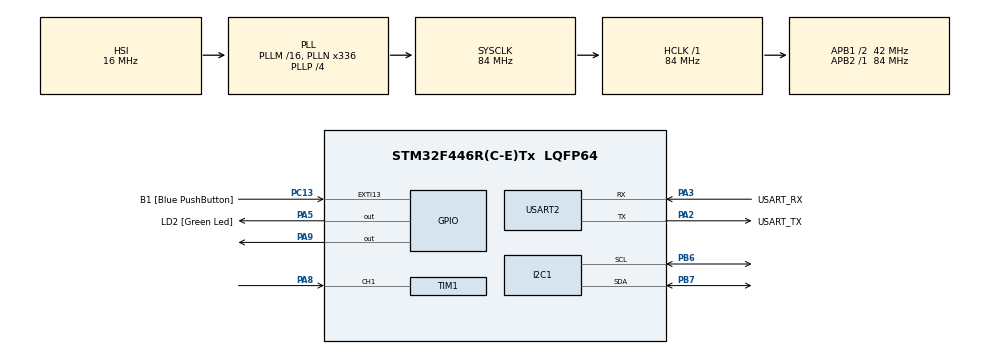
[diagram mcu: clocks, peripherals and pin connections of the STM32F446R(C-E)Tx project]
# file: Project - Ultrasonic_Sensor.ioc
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Mcu.Family=STM32F4
Mcu.Name=STM32F446R(C-E)Tx
Mcu.Package=LQFP64
NVIC.PriorityGroup=NVIC_PRIORITYGROUP_0
NVIC.TIM1_CC_IRQn=true\:0\:0\:false\:false\:true\:true\:true\:true
PA13.GPIO_Label=TMS
PA13.Mode=Serial_Wire
PA13.Signal=SYS_JTMS-SWDIO
PA14.GPIO_Label=TCK
PA14.Mode=Serial_Wire
PA14.Signal=SYS_JTCK-SWCLK
PA2.GPIO_Label=USART_TX
PA2.Mode=Asynchronous
PA2.Signal=USART2_TX
PA3.GPIO_Label=USART_RX
PA3.Mode=Asynchronous
PA3.Signal=USART2_RX
PA5.GPIO_Label=LD2 [Green Led]
PA5.Signal=GPIO_Output
PA8.Signal=S_TIM1_CH1
PA9.Signal=GPIO_Output
PB3.GPIO_Label=SWO
PB3.Signal=SYS_JTDO-SWO
PB6.Mode=I2C
PB6.Signal=I2C1_SCL
PB7.Mode=I2C
PB7.Signal=I2C1_SDA
PC13.GPIO_Label=B1 [Blue PushButton]
PC13.GPIO_ModeDefaultEXTI=GPIO_MODE_IT_FALLING
PC13.Signal=GPXTI13
PC14-OSC32_IN.Mode=LSE-External-Oscillator
PC14-OSC32_IN.Signal=RCC_OSC32_IN
PC15-OSC32_OUT.Mode=LSE-External-Oscillator
PC15-OSC32_OUT.Signal=RCC_OSC32_OUT
PH0-OSC_IN.Mode=HSE-External-Oscillator
PH0-OSC_IN.Signal=RCC_OSC_IN
PH1-OSC_OUT.Mode=HSE-External-Oscillator
PH1-OSC_OUT.Signal=RCC_OSC_OUT
ProjectManager.HeapSize=0x200
ProjectManager.StackSize=0x400
ProjectManager.TargetToolchain=STM32CubeIDE
RCC.48MHZClocksFreq_Value=84000000
RCC.AHBFreq_Value=84000000
RCC.APB1CLKDivider=RCC_HCLK_DIV2
RCC.APB1Freq_Value=42000000
RCC.APB1TimFreq_Value=84000000
RCC.APB2Freq_Value=84000000
RCC.APB2TimFreq_Value=84000000
RCC.CortexFreq_Value=84000000
RCC.FLatency-AdvancedSettings=FLASH_LATENCY_2
RCC.HCLKFreq_Value=84000000
RCC.HSE_VALUE=8000000
RCC.HSI_VALUE=16000000
RCC.PLLN=336
RCC.PLLP=RCC_PLLP_DIV4
RCC.SYSCLKFreq_VALUE=84000000
RCC.SYSCLKSource=RCC_SYSCLKSOURCE_PLLCLK
RCC.USBFreq_Value=168000000
RCC.VCOOutputFreq_Value=336000000
SH.S_TIM1_CH1.0=TIM1_CH1,Input_Capture1_from_TI1
TIM1.Channel-Input_Capture1_from_TI1=TIM_CHANNEL_1
TIM1.Prescaler=84-1
USART2.VirtualMode=VM_ASYNC
board=NUCLEO-F446RE

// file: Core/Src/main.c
/* USER CODE BEGIN Header */
/**
 ******************************************************************************
 * @file           : main.c
 * @brief          : Main program body
 ******************************************************************************
 * @attention
 *
 * Copyright (c) 2025 STMicroelectronics.
 * All rights reserved.
 *
 * This software is licensed under terms that can be found in the LICENSE file
 * in the root directory of this software component.
 * If no LICENSE file comes with this software, it is provided AS-IS.
 *
 ******************************************************************************
 */
/* USER CODE END Header */
#include "main.h"
#include <stdio.h>
#define SLAVE_ADDRESS_LCD 0x4E

I2C_HandleTypeDef hi2c1;

TIM_HandleTypeDef htim1;

UART_HandleTypeDef huart2;

void SystemClock_Config(void);
static void MX_GPIO_Init(void);
static void MX_USART2_UART_Init(void);
static void MX_TIM1_Init(void);
static void MX_I2C1_Init(void);

/* USER CODE BEGIN 0 */

void delay(uint16_t time)
{
    __HAL_TIM_SET_COUNTER(&htim1, 0); // set counter value to zero
    while (__HAL_TIM_GET_COUNTER(&htim1) < time)
        ;
}

uint32_t IC_val1 = 0;
uint32_t IC_val2 = 0;
uint32_t diff = 0;
uint32_t distance = 0;
uint32_t flag = 0;

void HAL_TIM_IC_CaptureCallback(TIM_HandleTypeDef *htim)
{
    if (htim->Channel == HAL_TIM_ACTIVE_CHANNEL_1) // Check if the interrupt source is Channel 1
    {
        if (flag == 0)
        {
            IC_val1 = HAL_TIM_ReadCapturedValue(htim, TIM_CHANNEL_1); // stores time for rising edge
            flag = 1;

            __HAL_TIM_SET_CAPTUREPOLARITY(htim, TIM_CHANNEL_1, TIM_INPUTCHANNELPOLARITY_FALLING);
        }

        else if (flag == 1)
        {
            IC_val2 = HAL_TIM_ReadCapturedValue(htim, TIM_CHANNEL_1); // stores time for falling edge
            __HAL_TIM_SET_COUNTER(htim, 0);

            if (IC_val2 > IC_val1)
            {
                diff = IC_val2 - IC_val1;
            }

            else if (IC_val2 < IC_val1)
            {
                diff = (0xffff - IC_val1) + IC_val2;
            }

            distance = (diff * 0.034) / 2;

            flag = 0;

            __HAL_TIM_SET_CAPTUREPOLARITY(htim, TIM_CHANNEL_1, TIM_INPUTCHANNELPOLARITY_RISING);

            __HAL_TIM_DISABLE_IT(&htim1, TIM_IT_CC1);
        }
    }
}

void ultrasonic_trigger()
{
    HAL_GPIO_WritePin(GPIOA, GPIO_PIN_9, GPIO_PIN_SET);
    delay(10);
    HAL_GPIO_WritePin(GPIOA, GPIO_PIN_9, GPIO_PIN_RESET);
    delay(10);
    __HAL_TIM_ENABLE_IT(&htim1, TIM_IT_CC1);
}
void lcd_send_cmd (char cmd)
{
  char data_u, data_l;
  data_u = (cmd&0xf0);
  data_l = ((cmd<<4)&0xf0);
  uint8_t data_t[4];
  data_t[0] = data_u|0x0C;  //en=1, rs=0 -> bxxxx1100
  data_t[1] = data_u|0x08;  //en=0, rs=0 -> bxxxx1000
  data_t[2] = data_l|0x0C;  //en=1, rs=0 -> bxxxx1100
  data_t[3] = data_l|0x08;  //en=0, rs=0 -> bxxxx1000
  HAL_I2C_Master_Transmit (&hi2c1, SLAVE_ADDRESS_LCD,(uint8_t *) data_t, 4, 100);
}
void lcd_send_data (char data)
{
	char data_u, data_l;
	uint8_t data_t[4];
	data_u = (data&0xf0);
	data_l = ((data<<4)&0xf0);
	data_t[0] = data_u|0x0D;  //en=1, rs=1 -> bxxxx1101
	data_t[1] = data_u|0x09;  //en=0, rs=1 -> bxxxx1001
	data_t[2] = data_l|0x0D;  //en=1, rs=1 -> bxxxx1101
	data_t[3] = data_l|0x09;  //en=0, rs=1 -> bxxxx1001
	HAL_I2C_Master_Transmit (&hi2c1, SLAVE_ADDRESS_LCD,(uint8_t *) data_t, 4, 100);
}
void lcd_init (void)
{
  // 4 bit initialisation
  HAL_Delay(50);  // wait for >40ms
  lcd_send_cmd (0x30);
  HAL_Delay(5);  // wait for >4.1ms
  lcd_send_cmd (0x30);
  HAL_Delay(1);  // wait for >100us
  lcd_send_cmd (0x30);
  HAL_Delay(10);
  lcd_send_cmd (0x20);  // 4bit mode
  HAL_Delay(10);

  // display initialisation
  lcd_send_cmd (0x28); // Function set --> DL=0 (4 bit mode), N = 1 (2 line display) F = 0 (5x8 characters)
  HAL_Delay(1);
  lcd_send_cmd (0x08); //Display on/off control --> D=0,C=0, B=0  ---> display off
  HAL_Delay(1);
  lcd_send_cmd (0x01);  // clear display
  HAL_Delay(2);
  lcd_send_cmd (0x06); //Entry mode set --> I/D = 1 (increment cursor) & S = 0 (no shift)
  HAL_Delay(1);
  lcd_send_cmd (0x0C); //Display on/off control --> D = 1, C and B = 0. (Cursor and blink, last two bits)
}

void lcd_clear (void)
{
	lcd_send_cmd (0x80);
	for (int i=0; i<70; i++)
	{
		lcd_send_data (' ');
	}
}

void lcd_put_cur(int row, int col)
{
    switch (row)
    {
        case 0:
            col |= 0x80;
            break;
        case 1:
            col |= 0xC0;
            break;
    }

    lcd_send_cmd (col);
}
void lcd_send_string (char *str)
{
	while (*str) lcd_send_data (*str++);
}
char dist[15];
/* USER CODE END 0 */

int main(void)
{

  /* MCU Configuration--------------------------------------------------------*/

  /* Reset of all peripherals, Initializes the Flash interface and the Systick. */
  HAL_Init();

  /* Configure the system clock */
  SystemClock_Config();

  /* Initialize all configured peripherals */
  MX_GPIO_Init();
  MX_USART2_UART_Init();
  MX_TIM1_Init();
  MX_I2C1_Init();
  /* USER CODE BEGIN 2 */
    lcd_init();

    HAL_TIM_IC_Start_IT(&htim1, TIM_CHANNEL_1);
int out;
  /* USER CODE END 2 */

  /* Infinite loop */
    while (1)
    {
    	ultrasonic_trigger();
    	HAL_Delay(500);

    	if(distance<500)
    	{
    		lcd_send_cmd (0x01);
    		HAL_Delay(50);
    		lcd_put_cur(0,0);
    		sprintf(dist,"Distance: %d",distance);
    		lcd_send_string(dist);
    		lcd_put_cur(1,0);
    		if(distance>100){
    			out=1;
    			HAL_GPIO_WritePin(LD2_GPIO_Port, LD2_GPIO_Port, 1);
    		}
    		if(distance<10){
    			out=0;
    			HAL_GPIO_WritePin(GPIOA, LD2_Pin, 0);
    		}
    		if(out==0){
    			lcd_send_string("Relay OFF");
    		}
    		if(out==1){
    			lcd_send_string("Relay on ");
    		}

    }
}
}
void SystemClock_Config(void)
{
  RCC_OscInitTypeDef RCC_OscInitStruct = {0};
  RCC_ClkInitTypeDef RCC_ClkInitStruct = {0};

  /** Configure the main internal regulator output voltage
  */
  __HAL_RCC_PWR_CLK_ENABLE();
  __HAL_PWR_VOLTAGESCALING_CONFIG(PWR_REGULATOR_VOLTAGE_SCALE3);

  /** Initializes the RCC Oscillators according to the specified parameters
  * in the RCC_OscInitTypeDef structure.
  */
  RCC_OscInitStruct.OscillatorType = RCC_OSCILLATORTYPE_HSI;
  RCC_OscInitStruct.HSIState = RCC_HSI_ON;
  RCC_OscInitStruct.HSICalibrationValue = RCC_HSICALIBRATION_DEFAULT;
  RCC_OscInitStruct.PLL.PLLState = RCC_PLL_ON;
  RCC_OscInitStruct.PLL.PLLSource = RCC_PLLSOURCE_HSI;
  RCC_OscInitStruct.PLL.PLLM = 16;
  RCC_OscInitStruct.PLL.PLLN = 336;
  RCC_OscInitStruct.PLL.PLLP = RCC_PLLP_DIV4;
  RCC_OscInitStruct.PLL.PLLQ = 2;
  RCC_OscInitStruct.PLL.PLLR = 2;
  if (HAL_RCC_OscConfig(&RCC_OscInitStruct) != HAL_OK)
  {
    Error_Handler();
  }

  /** Initializes the CPU, AHB and APB buses clocks
  */
  RCC_ClkInitStruct.ClockType = RCC_CLOCKTYPE_HCLK|RCC_CLOCKTYPE_SYSCLK
                              |RCC_CLOCKTYPE_PCLK1|RCC_CLOCKTYPE_PCLK2;
  RCC_ClkInitStruct.SYSCLKSource = RCC_SYSCLKSOURCE_PLLCLK;
  RCC_ClkInitStruct.AHBCLKDivider = RCC_SYSCLK_DIV1;
  RCC_ClkInitStruct.APB1CLKDivider = RCC_HCLK_DIV2;
  RCC_ClkInitStruct.APB2CLKDivider = RCC_HCLK_DIV1;

  if (HAL_RCC_ClockConfig(&RCC_ClkInitStruct, FLASH_LATENCY_2) != HAL_OK)
  {
    Error_Handler();
  }
}

static void MX_I2C1_Init(void)
{

  hi2c1.Instance = I2C1;
  hi2c1.Init.ClockSpeed = 100000;
  hi2c1.Init.DutyCycle = I2C_DUTYCYCLE_2;
  hi2c1.Init.OwnAddress1 = 0;
  hi2c1.Init.AddressingMode = I2C_ADDRESSINGMODE_7BIT;
  hi2c1.Init.DualAddressMode = I2C_DUALADDRESS_DISABLE;
  hi2c1.Init.OwnAddress2 = 0;
  hi2c1.Init.GeneralCallMode = I2C_GENERALCALL_DISABLE;
  hi2c1.Init.NoStretchMode = I2C_NOSTRETCH_DISABLE;
  if (HAL_I2C_Init(&hi2c1) != HAL_OK)
  {
    Error_Handler();
  }

}

static void MX_TIM1_Init(void)
{

  TIM_MasterConfigTypeDef sMasterConfig = {0};
  TIM_IC_InitTypeDef sConfigIC = {0};

  htim1.Instance = TIM1;
  htim1.Init.Prescaler = 84-1;
  htim1.Init.CounterMode = TIM_COUNTERMODE_UP;
  htim1.Init.Period = 65535;
  htim1.Init.ClockDivision = TIM_CLOCKDIVISION_DIV1;
  htim1.Init.RepetitionCounter = 0;
  htim1.Init.AutoReloadPreload = TIM_AUTORELOAD_PRELOAD_DISABLE;
  if (HAL_TIM_IC_Init(&htim1) != HAL_OK)
  {
    Error_Handler();
  }
  sMasterConfig.MasterOutputTrigger = TIM_TRGO_RESET;
  sMasterConfig.MasterSlaveMode = TIM_MASTERSLAVEMODE_DISABLE;
  if (HAL_TIMEx_MasterConfigSynchronization(&htim1, &sMasterConfig) != HAL_OK)
  {
    Error_Handler();
  }
  sConfigIC.ICPolarity = TIM_INPUTCHANNELPOLARITY_RISING;
  sConfigIC.ICSelection = TIM_ICSELECTION_DIRECTTI;
  sConfigIC.ICPrescaler = TIM_ICPSC_DIV1;
  sConfigIC.ICFilter = 0;
  if (HAL_TIM_IC_ConfigChannel(&htim1, &sConfigIC, TIM_CHANNEL_1) != HAL_OK)
  {
    Error_Handler();
  }

}

static void MX_USART2_UART_Init(void)
{

  huart2.Instance = USART2;
  huart2.Init.BaudRate = 115200;
  huart2.Init.WordLength = UART_WORDLENGTH_8B;
  huart2.Init.StopBits = UART_STOPBITS_1;
  huart2.Init.Parity = UART_PARITY_NONE;
  huart2.Init.Mode = UART_MODE_TX_RX;
  huart2.Init.HwFlowCtl = UART_HWCONTROL_NONE;
  huart2.Init.OverSampling = UART_OVERSAMPLING_16;
  if (HAL_UART_Init(&huart2) != HAL_OK)
  {
    Error_Handler();
  }

}

static void MX_GPIO_Init(void)
{
  GPIO_InitTypeDef GPIO_InitStruct = {0};

  /* GPIO Ports Clock Enable */
  __HAL_RCC_GPIOC_CLK_ENABLE();
  __HAL_RCC_GPIOH_CLK_ENABLE();
  __HAL_RCC_GPIOA_CLK_ENABLE();
  __HAL_RCC_GPIOB_CLK_ENABLE();

  /*Configure GPIO pin Output Level */
  HAL_GPIO_WritePin(GPIOA, LD2_Pin|GPIO_PIN_9, GPIO_PIN_RESET);

  /*Configure GPIO pin : B1_Pin */
  GPIO_InitStruct.Pin = B1_Pin;
  GPIO_InitStruct.Mode = GPIO_MODE_IT_FALLING;
  GPIO_InitStruct.Pull = GPIO_NOPULL;
  HAL_GPIO_Init(B1_GPIO_Port, &GPIO_InitStruct);

  /*Configure GPIO pins : LD2_Pin PA9 */
  GPIO_InitStruct.Pin = LD2_Pin|GPIO_PIN_9;
  GPIO_InitStruct.Mode = GPIO_MODE_OUTPUT_PP;
  GPIO_InitStruct.Pull = GPIO_NOPULL;
  GPIO_InitStruct.Speed = GPIO_SPEED_FREQ_LOW;
  HAL_GPIO_Init(GPIOA, &GPIO_InitStruct);

}

void Error_Handler(void)
{
    __disable_irq();
    while (1)
    {
    }
}
